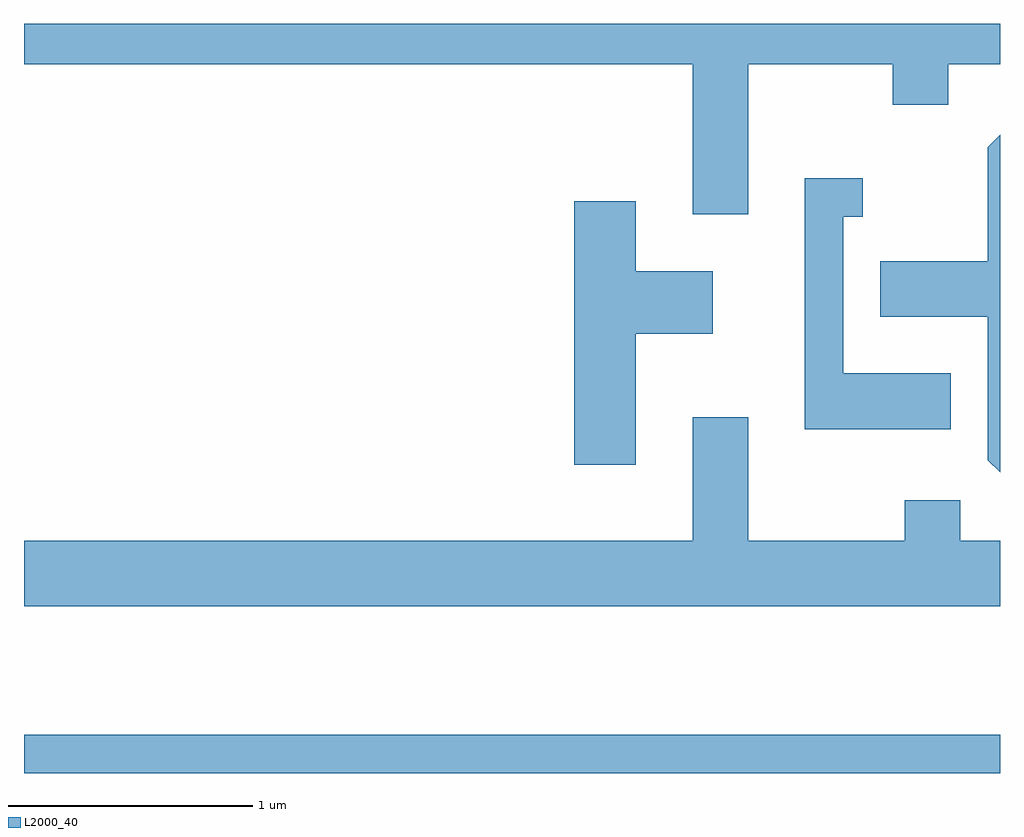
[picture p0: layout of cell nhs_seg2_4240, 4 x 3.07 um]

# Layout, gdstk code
import gdstk
lib = gdstk.Library(unit=1e-6, precision=1e-09)
def R(c, l, rs):  # rectangles x0, y0, x1, y1
    for r in rs: c.add(gdstk.rectangle(r[:2], r[2:], *l))
def P(c, l, *ps):  # polygons
    for p in ps: c.add(gdstk.Polygon(p, *l))
L2000_40 = (2000, 40)

nhs_seg2_4240 = lib.new_cell('nhs_seg2_4240')
R(nhs_seg2_4240, L2000_40, [(309.611,1058.731,313.611,1058.889)])
P(nhs_seg2_4240, L2000_40, [(312.579,1061.636),(313.171,1061.636),(313.171,1061.471),(313.399,1061.471),(313.399,1061.636),(313.611,1061.636),(313.611,1061.802),(309.611,1061.802),(309.611,1061.636),(312.351,1061.636),(312.351,1061.021),(312.579,1061.021)],
  [(313.611,1061.347),(313.561,1061.297),(313.561,1060.829),(313.121,1060.829),(313.121,1060.601),(313.561,1060.601),(313.561,1060.014),(313.611,1059.964)],
  [(313.409,1060.369),(312.969,1060.369),(312.969,1061.011),(313.048,1061.011),(313.048,1061.169),(312.811,1061.169),(312.811,1060.141),(313.409,1060.141)],
  [(312.119,1060.531),(312.434,1060.531),(312.434,1060.789),(312.119,1060.789),(312.119,1061.074),(311.866,1061.074),(311.866,1059.996),(312.119,1059.996)],
  [(313.611,1059.684),(313.449,1059.684),(313.449,1059.849),(313.221,1059.849),(313.221,1059.684),(312.579,1059.684),(312.579,1060.189),(312.351,1060.189),(312.351,1059.684),(309.611,1059.684),(309.611,1059.416),(313.611,1059.416)])

lib.write_gds('nhs_seg2_4240.gds')
